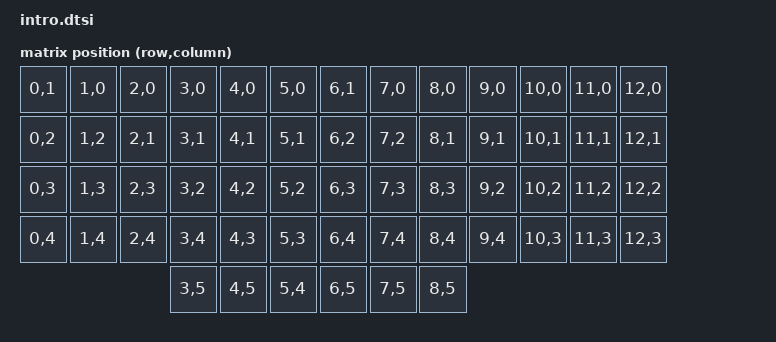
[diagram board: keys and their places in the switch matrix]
/*
 * Copyright (c) 2023 ZMK
 *
 * SPDX-License-Identifier: MIT
 */

#include <dt-bindings/zmk/matrix_transform.h>

/ {
    chosen {
        zmk,kscan = &kscan0;
        zmk,matrix_transform = &default_transform;

        /delete-property/ zephyr,console;
        /delete-property/ zephyr,shell-uart;
    };

    default_transform: keymap_transform_0 {
        compatible = "zmk,matrix-transform";
        columns = <13>;
        rows = <6>;

        map = <
RC(0,1) RC(1,0) RC(2,0) RC(3,0) RC(4,0) RC(5,0)      RC(6,1) RC(7,0) RC(8,0) RC(9,0) RC(10,0) RC(11,0) RC(12,0)
RC(0,2) RC(1,2) RC(2,1) RC(3,1) RC(4,1) RC(5,1)      RC(6,2) RC(7,2) RC(8,1) RC(9,1) RC(10,1) RC(11,1) RC(12,1)
RC(0,3) RC(1,3) RC(2,3) RC(3,2) RC(4,2) RC(5,2)      RC(6,3) RC(7,3) RC(8,3) RC(9,2) RC(10,2) RC(11,2) RC(12,2)
RC(0,4) RC(1,4) RC(2,4) RC(3,4) RC(4,3) RC(5,3)      RC(6,4) RC(7,4) RC(8,4) RC(9,4) RC(10,3) RC(11,3) RC(12,3)
                        RC(3,5) RC(4,5) RC(5,4)      RC(6,5) RC(7,5) RC(8,5)
        >;
    };

    kscan0: kscan {
        compatible = "zmk,kscan-gpio-round-robin";
        label = "KSCAN";

        interrupt-gpios = <&xiao_d 9 (GPIO_ACTIVE_HIGH | GPIO_PULL_DOWN)>;
    };
};

&xiao_i2c { status = "disabled"; };
&xiao_serial { status = "disabled"; };
